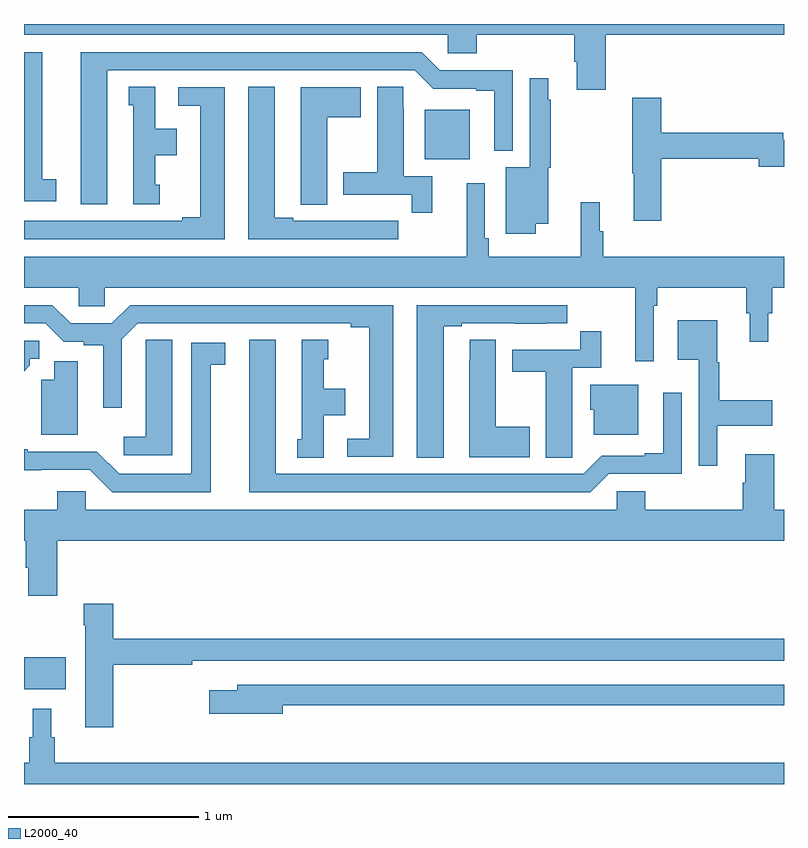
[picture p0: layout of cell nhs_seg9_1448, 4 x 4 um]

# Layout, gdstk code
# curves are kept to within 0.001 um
import gdstk
lib = gdstk.Library(unit=1e-6, precision=1e-09)
def R(c, l, rs):  # rectangles x0, y0, x1, y1
    for r in rs: c.add(gdstk.rectangle(r[:2], r[2:], *l))
def P(c, l, *ps):  # polygons
    for p in ps: c.add(gdstk.Polygon(p, *l))
L2000_40 = (2000, 40)

nhs_seg9_1448 = lib.new_cell('nhs_seg9_1448')
R(nhs_seg9_1448, L2000_40, [(193,1169,193.219,1169.166), (195.11,1171.787,195.346,1172.05)])
P(nhs_seg9_1448, L2000_40, [(196.061,1172.444),(197,1172.444),(197,1172.5),(193,1172.5),(193,1172.444),(195.231,1172.444),(195.231,1172.346),(195.383,1172.346),(195.383,1172.444),(195.896,1172.444),(195.896,1172.302),(195.908,1172.302),(195.908,1172.154),(196.061,1172.154)],
  [(193.438,1172.256),(195.057,1172.256),(195.153,1172.16),(195.38,1172.16),(195.38,1172.148),(195.476,1172.148),(195.476,1171.832),(195.573,1171.832),(195.573,1172.256),(195.189,1172.256),(195.093,1172.352),(193.298,1172.352),(193.298,1171.551),(193.438,1171.551)],
  [(193.171,1171.682),(193.096,1171.682),(193.096,1172.352),(193,1172.352),(193,1171.566),(193.171,1171.566)],
  [(195.694,1171.448),(195.76,1171.448),(195.76,1171.743),(195.772,1171.743),(195.772,1172.102),(195.76,1172.102),(195.76,1172.215),(195.663,1172.215),(195.663,1171.747),(195.536,1171.747),(195.536,1171.395),(195.694,1171.395)],
  [(193.714,1171.653),(193.69,1171.653),(193.69,1171.808),(193.804,1171.808),(193.804,1171.948),(193.69,1171.948),(193.69,1172.171),(193.55,1172.171),(193.55,1172.073),(193.574,1172.073),(193.574,1171.551),(193.714,1171.551)],
  [(194.971,1171.464),(194.858,1171.464),(194.858,1171.465),(194.692,1171.465),(194.692,1171.464),(194.416,1171.464),(194.416,1171.479),(194.32,1171.479),(194.32,1172.171),(194.18,1172.171),(194.18,1171.368),(194.971,1171.368)],
  [(195.149,1171.698),(194.998,1171.698),(194.998,1172.06),(194.997,1172.06),(194.997,1172.171),(194.858,1172.171),(194.858,1171.719),(194.681,1171.719),(194.681,1171.602),(195.04,1171.602),(195.04,1171.506),(195.149,1171.506)],
  [(194.596,1172.008),(194.773,1172.008),(194.773,1172.167),(194.456,1172.167),(194.456,1171.657),(194.457,1171.657),(194.457,1171.549),(194.596,1171.549)],
  [(194.056,1172.166),(193.812,1172.166),(193.812,1172.07),(193.928,1172.07),(193.928,1171.484),(193.832,1171.484),(193.832,1171.464),(193,1171.464),(193,1171.368),(194.056,1171.368)],
  [(196.355,1171.792),(196.868,1171.792),(196.868,1171.75),(197,1171.75),(197,1171.892),(196.996,1171.892),(196.996,1171.928),(196.355,1171.928),(196.355,1172.113),(196.201,1172.113),(196.201,1171.715),(196.208,1171.715),(196.208,1171.464),(196.355,1171.464)],
  [(196.314,1171.016),(196.334,1171.016),(196.334,1171.112),(196.801,1171.112),(196.801,1170.978),(196.82,1170.978),(196.82,1170.828),(196.918,1170.828),(196.918,1170.978),(196.937,1170.978),(196.937,1171.112),(197,1171.112),(197,1171.276),(196.049,1171.276),(196.049,1171.41),(196.03,1171.41),(196.03,1171.561),(195.931,1171.561),(195.931,1171.276),(195.446,1171.276),(195.446,1171.372),(195.426,1171.372),(195.426,1171.663),(195.329,1171.663),(195.329,1171.276),(193,1171.276),(193,1171.112),(193.287,1171.112),(193.287,1171.014),(193.425,1171.014),(193.425,1171.112),(196.217,1171.112),(196.217,1170.726),(196.314,1170.726)],
  [(195.208,1170.909),(195.304,1170.909),(195.304,1170.924),(195.58,1170.924),(195.58,1170.923),(195.746,1170.923),(195.746,1170.924),(195.859,1170.924),(195.859,1171.02),(195.068,1171.02),(195.068,1170.217),(195.208,1170.217)],
  [(194.944,1171.02),(193.559,1171.02),(193.463,1170.924),(193.245,1170.924),(193.149,1171.02),(193,1171.02),(193,1170.924),(193.113,1170.924),(193.209,1170.828),(193.314,1170.828),(193.314,1170.808),(193.418,1170.808),(193.418,1170.48),(193.515,1170.48),(193.515,1170.84),(193.599,1170.924),(194.72,1170.924),(194.72,1170.904),(194.816,1170.904),(194.816,1170.318),(194.7,1170.318),(194.7,1170.222),(194.944,1170.222)],
  [(196.648,1170.386),(196.939,1170.386),(196.939,1170.521),(196.66,1170.521),(196.66,1170.72),(196.648,1170.72),(196.648,1170.94),(196.442,1170.94),(196.442,1170.734),(196.551,1170.734),(196.551,1170.174),(196.648,1170.174)],
  [(195.885,1170.328),(195.886,1170.328),(195.886,1170.69),(196.037,1170.69),(196.037,1170.883),(195.928,1170.883),(195.928,1170.786),(195.569,1170.786),(195.569,1170.67),(195.746,1170.67),(195.746,1170.217),(195.885,1170.217)],
  [(195.661,1170.381),(195.484,1170.381),(195.484,1170.839),(195.345,1170.839),(195.345,1170.731),(195.344,1170.731),(195.344,1170.221),(195.661,1170.221)],
  [(193.78,1170.839),(193.641,1170.839),(193.641,1170.731),(193.64,1170.731),(193.64,1170.328),(193.524,1170.328),(193.524,1170.231),(193.78,1170.231)],
  [(196.077,1170.132),(196.461,1170.132),(196.461,1170.559),(196.364,1170.559),(196.364,1170.241),(196.268,1170.241),(196.268,1170.228),(196.041,1170.228),(195.945,1170.132),(194.326,1170.132),(194.326,1170.838),(194.186,1170.838),(194.186,1170.036),(195.981,1170.036)],
  [(194.578,1170.44),(194.692,1170.44),(194.692,1170.58),(194.578,1170.58),(194.578,1170.735),(194.602,1170.735),(194.602,1170.838),(194.462,1170.838),(194.462,1170.315),(194.438,1170.315),(194.438,1170.217),(194.578,1170.217)],
  [(193.03,1170.703),(193.03,1170.738),(193.08,1170.738),(193.08,1170.834),(193,1170.834),(193,1170.673)],
  [(193.984,1170.706),(194.059,1170.706),(194.059,1170.822),(193.88,1170.822),(193.88,1170.132),(193.5,1170.132),(193.383,1170.249),(193.021,1170.249),(193.021,1170.262),(193,1170.262),(193,1170.152),(193.347,1170.153),(193.464,1170.036),(193.984,1170.036)],
  [(193.282,1170.726),(193.16,1170.726),(193.16,1170.628),(193.091,1170.628),(193.091,1170.338),(193.282,1170.338)],
  [(196.234,1170.601),(195.98,1170.601),(195.98,1170.471),(195.998,1170.471),(195.998,1170.338),(196.234,1170.338)],
  [(193.175,1169.78),(197,1169.78),(197,1169.944),(196.949,1169.944),(196.949,1170.235),(196.796,1170.235),(196.796,1170.086),(196.784,1170.086),(196.784,1169.944),(196.271,1169.944),(196.271,1170.042),(196.119,1170.042),(196.119,1169.944),(193.326,1169.944),(193.326,1170.042),(193.175,1170.042),(193.175,1169.944),(193,1169.944),(193,1169.78),(193.01,1169.78),(193.01,1169.638),(193.022,1169.638),(193.022,1169.49),(193.175,1169.49)],
  [(193.469,1169.128),(193.886,1169.128),(193.886,1169.148),(197,1169.148),(197,1169.264),(193.469,1169.264),(193.469,1169.449),(193.315,1169.449),(193.315,1169.336),(193.322,1169.336),(193.322,1168.8),(193.469,1168.8)],
  [(194.362,1168.914),(197,1168.914),(197,1169.022),(194.123,1169.022),(194.123,1168.993),(193.974,1168.993),(193.974,1168.871),(194.362,1168.871)],
  [(197,1168.612),(193.163,1168.612),(193.163,1168.746),(193.144,1168.746),(193.144,1168.897),(193.046,1168.897),(193.046,1168.746),(193.027,1168.746),(193.027,1168.612),(193,1168.612),(193,1168.5),(197,1168.5)])

lib.write_gds('nhs_seg9_1448.gds')
